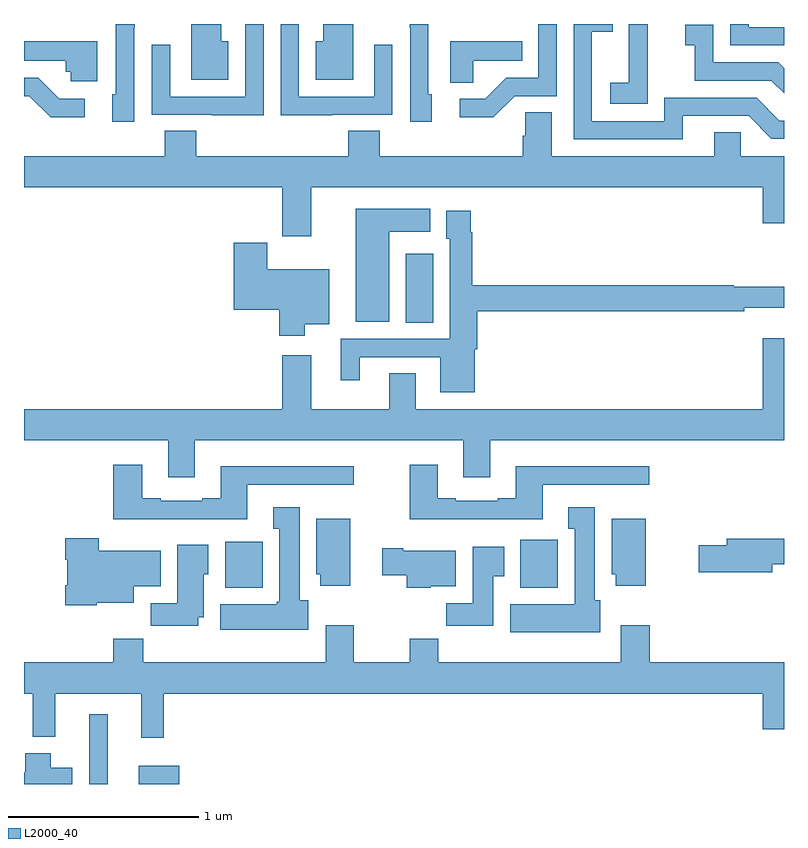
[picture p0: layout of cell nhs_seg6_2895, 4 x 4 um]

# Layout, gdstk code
import gdstk
lib = gdstk.Library(unit=1e-6, precision=1e-09)
def R(c, l, rs):  # rectangles x0, y0, x1, y1
    for r in rs: c.add(gdstk.rectangle(r[:2], r[2:], *l))
def P(c, l, *ps):  # polygons
    for p in ps: c.add(gdstk.Polygon(p, *l))
L2000_40 = (2000, 40)

nhs_seg6_2895 = lib.new_cell('nhs_seg6_2895')
R(nhs_seg6_2895, L2000_40, [(281.343,973.5,281.44,973.867), (281.603,973.5,281.818,973.597), (282.059,974.534,282.256,974.776), (283.613,974.534,283.809,974.785), (283.01,975.928,283.153,976.291)])
P(nhs_seg6_2895, L2000_40, [(282.261,977.5),(282.165,977.5),(282.165,977.118),(281.769,977.118),(281.769,977.392),(281.673,977.392),(281.673,977.022),(281.989,977.022),(281.989,977.021),(282.261,977.021)],
  [(282.623,977.022),(282.939,977.022),(282.939,977.392),(282.843,977.392),(282.843,977.118),(282.447,977.118),(282.447,977.5),(282.351,977.5),(282.351,977.021),(282.623,977.021)],
  [(282.076,977.41),(282.037,977.41),(282.037,977.5),(281.879,977.5),(281.879,977.207),(282.076,977.207)],
  [(282.733,977.5),(282.575,977.5),(282.575,977.41),(282.536,977.41),(282.536,977.207),(282.733,977.207)],
  [(281.58,977.479),(281.583,977.479),(281.583,977.5),(281.483,977.5),(281.483,977.464),(281.484,977.464),(281.484,977.13),(281.465,977.13),(281.465,976.986),(281.58,976.986)],
  [(283.584,977.121),(283.803,977.121),(283.803,977.5),(283.707,977.5),(283.707,977.217),(283.538,977.217),(283.427,977.106),(283.293,977.106),(283.293,977.009),(283.471,977.009)],
  [(284.283,977.287),(284.282,977.287),(284.282,977.5),(284.184,977.5),(284.184,977.42),(284.183,977.42),(284.183,977.191),(284.085,977.191),(284.085,977.081),(284.283,977.081)],
  [(285,977.484),(284.814,977.484),(284.814,977.5),(284.718,977.5),(284.718,977.388),(285,977.388)],
  [(283.147,977.13),(283.128,977.13),(283.128,977.5),(283.03,977.5),(283.03,977.479),(283.032,977.479),(283.032,976.986),(283.147,976.986)],
  [(284.467,977.016),(284.814,977.016),(284.934,976.896),(285,976.896),(285,976.992),(284.976,976.992),(284.856,977.112),(284.37,977.112),(284.37,976.989),(283.989,976.989),(283.989,977.458),(284.099,977.458),(284.099,977.5),(283.893,977.5),(283.893,976.893),(284.467,976.893)],
  [(285,977.268),(284.97,977.298),(284.628,977.298),(284.628,977.497),(284.481,977.497),(284.481,977.387),(284.53,977.387),(284.53,977.202),(284.933,977.202),(285,977.135)],
  [(281.386,977.41),(281,977.41),(281,977.306),(281.221,977.306),(281.221,977.25),(281.247,977.25),(281.247,977.198),(281.386,977.198)],
  [(283.365,977.306),(283.622,977.306),(283.622,977.41),(283.244,977.41),(283.244,977.191),(283.365,977.191)],
  [(281.32,977.106),(281.185,977.106),(281.074,977.217),(281,977.217),(281,977.121),(281.028,977.121),(281.141,977.009),(281.32,977.009)],
  [(282.511,976.64),(284.888,976.64),(284.888,976.452),(285,976.452),(285,976.804),(284.772,976.804),(284.772,976.931),(284.633,976.931),(284.633,976.804),(283.777,976.804),(283.777,977.036),(283.638,977.036),(283.638,976.913),(283.625,976.913),(283.625,976.804),(282.872,976.804),(282.872,976.937),(282.707,976.937),(282.707,976.804),(281.906,976.804),(281.906,976.937),(281.741,976.937),(281.741,976.804),(281,976.804),(281,976.64),(282.359,976.64),(282.359,976.383),(282.511,976.383)],
  [(282.922,976.406),(283.138,976.406),(283.138,976.528),(282.746,976.528),(282.746,975.932),(282.922,975.932)],
  [(283.372,975.789),(283.385,975.789),(283.385,975.988),(284.792,975.988),(284.792,976.007),(285,976.007),(285,976.117),(284.735,976.117),(284.735,976.124),(283.358,976.124),(283.358,976.403),(283.351,976.403),(283.351,976.516),(283.223,976.516),(283.223,976.371),(283.242,976.371),(283.242,975.843),(282.668,975.843),(282.668,975.624),(282.766,975.624),(282.766,975.747),(283.19,975.747),(283.19,975.563),(283.372,975.563)],
  [(282.478,975.92),(282.607,975.92),(282.607,976.21),(282.281,976.21),(282.281,976.348),(282.104,976.348),(282.104,975.995),(282.344,975.995),(282.344,975.858),(282.478,975.858)],
  [(281.899,975.308),(283.313,975.308),(283.313,975.114),(283.453,975.114),(283.453,975.308),(285,975.308),(285,975.847),(284.888,975.847),(284.888,975.472),(283.063,975.472),(283.063,975.662),(282.923,975.662),(282.923,975.472),(282.511,975.472),(282.511,975.757),(282.359,975.757),(282.359,975.472),(281,975.472),(281,975.308),(281.759,975.308),(281.759,975.114),(281.899,975.114)],
  [(282.175,975.075),(282.736,975.075),(282.736,975.172),(282.035,975.172),(282.035,975.004),(281.939,975.004),(281.939,974.991),(281.719,974.991),(281.719,975.004),(281.623,975.004),(281.623,975.181),(281.471,975.181),(281.471,974.894),(282.175,974.894)],
  [(283.729,975.075),(284.29,975.075),(284.29,975.172),(283.589,975.172),(283.589,975.004),(283.493,975.004),(283.493,974.991),(283.273,974.991),(283.273,975.004),(283.177,975.004),(283.177,975.181),(283.03,975.181),(283.03,974.894),(283.729,974.894)],
  [(282.496,974.466),(282.451,974.466),(282.451,974.956),(282.311,974.956),(282.311,974.843),(282.344,974.843),(282.344,974.46),(282.331,974.46),(282.331,974.446),(282.032,974.446),(282.032,974.312),(282.496,974.312)],
  [(284.032,974.466),(284.005,974.466),(284.005,974.956),(283.865,974.956),(283.865,974.843),(283.898,974.843),(283.898,974.446),(283.559,974.446),(283.559,974.3),(284.032,974.3)],
  [(284.272,974.896),(284.093,974.896),(284.093,974.604),(284.114,974.604),(284.114,974.544),(284.272,974.544)],
  [(282.718,974.896),(282.539,974.896),(282.539,974.604),(282.56,974.604),(282.56,974.544),(282.718,974.544)],
  [(281.382,974.453),(281.578,974.453),(281.578,974.54),(281.719,974.54),(281.719,974.728),(281.394,974.728),(281.394,974.794),(281.216,974.794),(281.216,974.681),(281.228,974.681),(281.228,974.545),(281.216,974.545),(281.216,974.441),(281.382,974.441)],
  [(284.938,974.656),(285,974.656),(285,974.792),(284.699,974.792),(284.699,974.756),(284.55,974.756),(284.55,974.614),(284.938,974.614)],
  [(281.917,974.378),(281.947,974.378),(281.947,974.604),(281.971,974.604),(281.971,974.758),(281.807,974.758),(281.807,974.452),(281.668,974.452),(281.668,974.334),(281.917,974.334)],
  [(283.471,974.593),(283.528,974.593),(283.528,974.749),(283.361,974.749),(283.361,974.452),(283.222,974.452),(283.222,974.334),(283.471,974.334)],
  [(283.14,974.54),(283.273,974.54),(283.273,974.728),(282.997,974.728),(282.997,974.741),(282.885,974.741),(282.885,974.599),(283.015,974.599),(283.015,974.534),(283.14,974.534)],
  [(281.735,973.976),(284.888,973.976),(284.888,973.788),(285,973.788),(285,974.14),(284.294,974.14),(284.294,974.335),(284.141,974.335),(284.141,974.14),(283.181,974.14),(283.181,974.264),(283.03,974.264),(283.03,974.14),(282.735,974.14),(282.735,974.335),(282.587,974.335),(282.587,974.14),(281.627,974.14),(281.627,974.264),(281.471,974.264),(281.471,974.14),(281,974.14),(281,973.976),(281.047,973.976),(281.047,973.748),(281.165,973.748),(281.165,973.976),(281.618,973.976),(281.618,973.743),(281.735,973.743)],
  [(281.254,973.585),(281.14,973.585),(281.14,973.663),(281.006,973.663),(281.006,973.563),(281,973.563),(281,973.5),(281.254,973.5)])

lib.write_gds('nhs_seg6_2895.gds')
